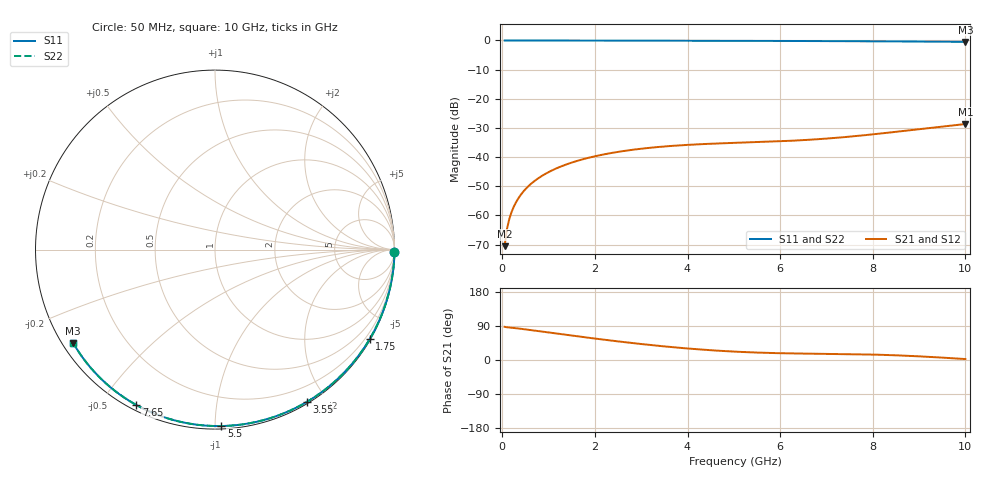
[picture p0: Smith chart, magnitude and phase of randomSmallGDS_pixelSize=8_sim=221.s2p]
! freq	dB(S11)	phase(S11)	dB(S12)	phase(S12)
!  dB(S21)	phase(S21)	dB(S22)	phase(S22)
!S-par simulation data
#  GHz  S  DB  R 50
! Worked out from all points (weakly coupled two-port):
!   200 points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, 50 MHz to 10 GHz, reference 50 ohm
!   highest |S21| = -28.66 dB at 10 GHz (marker M1); lowest = -70.5 dB at 50 MHz (marker M2)
!   lowest |S11| = -0.5 dB at 10 GHz (marker M3), VSWR 35.95, Z = 1.52 - j15 ohm
!   |S11| at or under -10 dB: nowhere
!   |S22| runs from -0.5 to 0.0 dB; largest |S21 - S12| = 0
!   S11 on the Smith chart (normalised r, x): 50 MHz: open; 1.75 GHz: 0.03, -3.74; 3.55 GHz: 0.02, -1.77; 5.5 GHz: 0.02, -1.04; 7.65 GHz: 0.02, -0.61; 10 GHz: 0.03, -0.30
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0.05  -0.00 -0.9  -70.54 87.5  -70.54 87.5  -0.00 -0.9
0.1  -0.00 -1.7  -64.71 86.4  -64.71 86.4  -0.00 -1.7
0.15  -0.00 -2.6  -61.29 85.8  -61.29 85.8  -0.00 -2.6
0.2  -0.00 -3.5  -58.85 85.2  -58.85 85.2  -0.00 -3.5
0.25  -0.00 -4.4  -56.94 84.5  -56.94 84.5  -0.00 -4.4
0.35  -0.00 -6.1  -54.06 83.1  -54.06 83.1  -0.00 -6.1
0.5  -0.01 -8.7  -51.00 80.8  -51.00 80.8  -0.01 -8.7
0.7  -0.01 -12.1  -48.14 77.6  -48.14 77.6  -0.01 -12.1
1  -0.02 -17.3  -45.14 72.6  -45.14 72.6  -0.02 -17.3
1.35  -0.03 -23.2  -42.70 66.9  -42.70 66.9  -0.03 -23.2
1.75  -0.04 -29.9  -40.69 60.5  -40.69 60.5  -0.04 -29.9
2.5  -0.05 -42.3  -38.20 49.1  -38.20 49.1  -0.05 -42.3
3.4  -0.08 -56.7  -36.49 37.1  -36.49 37.1  -0.08 -56.7
3.55  -0.08 -59.0  -36.29 35.3  -36.29 35.3  -0.08 -59.0
4.3  -0.10 -70.5  -35.56 27.6  -35.56 27.6  -0.10 -70.5
5.05  -0.12 -81.5  -35.10 21.9  -35.10 21.9  -0.12 -81.5
5.5  -0.14 -87.9  -34.86 19.6  -34.86 19.6  -0.14 -87.9
6.7  -0.20 -104.4  -33.98 16.7  -33.98 16.7  -0.20 -104.4
7.65  -0.26 -116.9  -32.76 15.3  -32.76 15.3  -0.26 -116.9
8.35  -0.32 -125.9  -31.60 13.0  -31.60 13.0  -0.32 -125.9
9.2  -0.40 -136.6  -30.08 8.4  -30.08 8.4  -0.40 -136.6
10  -0.48 -146.7  -28.66 2.5  -28.66 2.5  -0.48 -146.7
